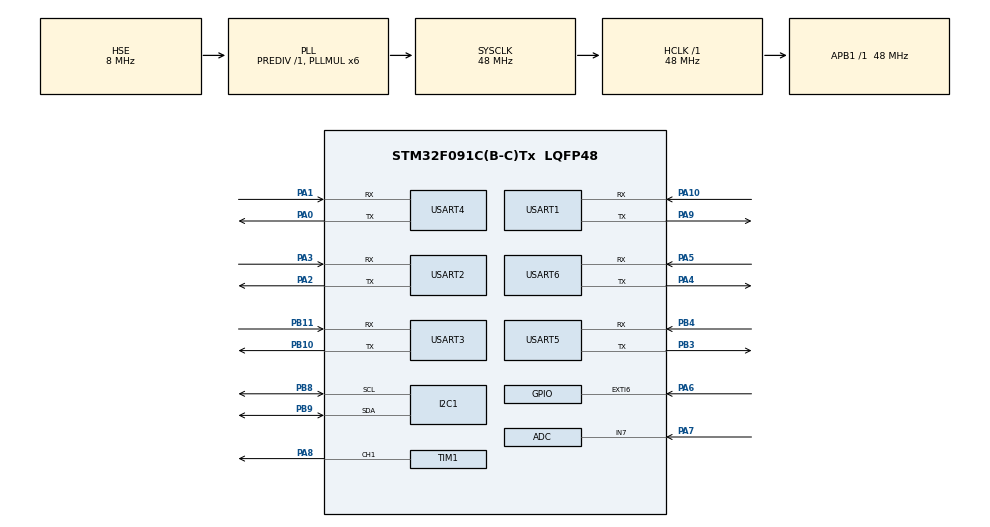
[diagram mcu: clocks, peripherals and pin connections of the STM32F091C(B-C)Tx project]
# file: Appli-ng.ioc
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ADC.ClockPrescaler=ADC_CLOCK_ASYNC_DIV1
ADC.ContinuousConvMode=ENABLE
ADC.DMAContinuousRequests=DISABLE
ADC.DataAlign=ADC_DATAALIGN_RIGHT
ADC.DiscontinuousConvMode=DISABLE
ADC.EOCSelection=ADC_EOC_SINGLE_CONV
ADC.EnableAnalogWatchDog=false
ADC.ExternalTrigConv=ADC_SOFTWARE_START
ADC.ExternalTrigConvEdge=ADC_EXTERNALTRIGCONVEDGE_NONE
ADC.LowPowerAutoPowerOff=DISABLE
ADC.LowPowerAutoWait=DISABLE
ADC.Overrun=ADC_OVR_DATA_PRESERVED
ADC.Resolution=ADC_RESOLUTION_12B
ADC.SamplingTime=ADC_SAMPLETIME_239CYCLES_5
ADC.ScanConvMode=ADC_SCAN_DIRECTION_FORWARD
Dma.ADC.0.Direction=DMA_PERIPH_TO_MEMORY
Dma.ADC.0.Instance=DMA1_Channel1
Dma.ADC.0.MemDataAlignment=DMA_MDATAALIGN_HALFWORD
Dma.ADC.0.MemInc=DMA_MINC_ENABLE
Dma.ADC.0.Mode=DMA_CIRCULAR
Dma.ADC.0.PeriphDataAlignment=DMA_PDATAALIGN_HALFWORD
Dma.ADC.0.PeriphInc=DMA_PINC_DISABLE
Dma.ADC.0.Priority=DMA_PRIORITY_LOW
Dma.Request0=ADC
Mcu.Family=STM32F0
Mcu.Name=STM32F091C(B-C)Tx
Mcu.Package=LQFP48
NVIC.ADC1_COMP_IRQn=true\:0\:0\:false\:false\:true\:true\:true
NVIC.DMA1_Ch1_IRQn=true\:0\:0\:false\:false\:true\:false\:true
NVIC.EXTI4_15_IRQn=true\:0\:0\:false\:false\:true\:true\:true
NVIC.TIM1_BRK_UP_TRG_COM_IRQn=true\:0\:0\:false\:false\:true\:true\:true
NVIC.TIM6_DAC_IRQn=true\:0\:0\:false\:false\:true\:true\:true
NVIC.USART1_IRQn=true\:0\:0\:false\:false\:true\:true\:true
NVIC.USART2_IRQn=true\:0\:0\:false\:false\:true\:true\:true
NVIC.USART3_8_IRQn=true\:0\:0\:false\:false\:true\:true\:true
PA0.Mode=Asynchronous
PA0.Signal=USART4_TX
PA1.Mode=Asynchronous
PA1.Signal=USART4_RX
PA10.Mode=Asynchronous
PA10.Signal=USART1_RX
PA13.Mode=Serial_Wire
PA13.Signal=SYS_SWDIO
PA14.Mode=Serial_Wire
PA14.Signal=SYS_SWCLK
PA2.Mode=Asynchronous
PA2.Signal=USART2_TX
PA3.Mode=Asynchronous
PA3.Signal=USART2_RX
PA4.Mode=Asynchronous
PA4.Signal=USART6_TX
PA5.Mode=Asynchronous
PA5.Signal=USART6_RX
PA6.GPIO_ModeDefaultEXTI=GPIO_MODE_IT_RISING
PA6.GPIO_PuPd=GPIO_NOPULL
PA6.Signal=GPXTI6
PA7.Mode=IN7
PA7.Signal=ADC_IN7
PA8.Signal=S_TIM1_CH1
PA9.Mode=Asynchronous
PA9.Signal=USART1_TX
PB10.Mode=Asynchronous
PB10.Signal=USART3_TX
PB11.Mode=Asynchronous
PB11.Signal=USART3_RX
PB3.Mode=Asynchronous
PB3.Signal=USART5_TX
PB4.Mode=Asynchronous
PB4.Signal=USART5_RX
PB8.Mode=I2C
PB8.Signal=I2C1_SCL
PB9.Mode=I2C
PB9.Signal=I2C1_SDA
PF0-OSC_IN.Mode=HSE-External-Oscillator
PF0-OSC_IN.Signal=RCC_OSC_IN
PF1-OSC_OUT.Mode=HSE-External-Oscillator
PF1-OSC_OUT.Signal=RCC_OSC_OUT
ProjectManager.HeapSize=0x200
ProjectManager.StackSize=0x400
ProjectManager.TargetToolchain=STM32CubeIDE
RCC.AHBFreq_Value=48000000
RCC.APB1Freq_Value=48000000
RCC.APB1TimFreq_Value=48000000
RCC.HCLKFreq_Value=48000000
RCC.PLLMUL=RCC_PLL_MUL6
RCC.PLLSourceVirtual=RCC_PLLSOURCE_HSE
RCC.SYSCLKFreq_VALUE=48000000
RCC.SYSCLKSource=RCC_SYSCLKSOURCE_PLLCLK
SH.S_TIM1_CH1.0=TIM1_CH1,PWM Generation1 CH1
TIM1.AutoReloadPreload=TIM_AUTORELOAD_PRELOAD_ENABLE
TIM1.Channel-PWM\ Generation1\ CH1=TIM_CHANNEL_1
USART1.VirtualMode-Asynchronous=VM_ASYNC
USART2.VirtualMode-Asynchronous=VM_ASYNC
USART3.VirtualMode-Asynchronous=VM_ASYNC
USART4.VirtualMode-Asynchronous=VM_ASYNC
USART5.VirtualMode-Asynchronous=VM_ASYNC
USART6.VirtualMode=VM_ASYNC
VP_TIM6_VS_ClockSourceINT.Mode=Enable_Timer
VP_TIM7_VS_ClockSourceINT.Mode=Enable_Timer
board=BLINKY_boot

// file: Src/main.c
/* USER CODE BEGIN Header */
/**
  ******************************************************************************
  * @file           : main.c
  * @brief          : Main program body
  ******************************************************************************
  * @attention
  *
  * <h2><center>&copy; Copyright (c) 2020 STMicroelectronics.
  * All rights reserved.</center></h2>
  *
  * This software component is licensed by ST under BSD 3-Clause license,
  * the "License"; You may not use this file except in compliance with the
  * License. You may obtain a copy of the License at:
  *                        opensource.org/licenses/BSD-3-Clause
  *
  ******************************************************************************
  */
/* USER CODE END Header */

#include "main.h"

/* USER CODE BEGIN Includes */
#include <stm32f0xx_it.h>
#include <sublayer12.h>
#include <layer2.h>
#include <hwLED.h>
#include <serial.h>
#include <bbpp.h>
#include <flash_storage.h>
#include <speaker.h>
#include <user_code.h>
/* USER CODE END Includes */

/* USER CODE BEGIN PD */
#define ACCEL_ADDR_W 0x98
#define ACCEL_ADDR_R 0x99

#define DO 523*4
#define RE 587*4
#define MI 659*4
#define FA 698*4
#define SOL 784*4
#define SI 988*4
/* USER CODE END PD */

ADC_HandleTypeDef hadc;
DMA_HandleTypeDef hdma_adc;

I2C_HandleTypeDef hi2c1;

TIM_HandleTypeDef htim1;
TIM_HandleTypeDef htim6;
TIM_HandleTypeDef htim7;

UART_HandleTypeDef huart1;
UART_HandleTypeDef huart2;
UART_HandleTypeDef huart3;
UART_HandleTypeDef huart4;
UART_HandleTypeDef huart5;
UART_HandleTypeDef huart6;

/* USER CODE BEGIN PV */
uint32_t time_to_jump;
uint32_t address_to_jump = 0;
/* USER CODE END PV */

void SystemClock_Config(void);
static void MX_GPIO_Init(void);
static void MX_DMA_Init(void);
static void MX_ADC_Init(void);
static void MX_I2C1_Init(void);
static void MX_TIM1_Init(void);
static void MX_USART1_UART_Init(void);
static void MX_USART2_UART_Init(void);
static void MX_USART3_UART_Init(void);
static void MX_USART4_UART_Init(void);
static void MX_USART5_UART_Init(void);
static void MX_USART6_UART_Init(void);
static void MX_TIM6_Init(void);
static void MX_TIM7_Init(void);
/* USER CODE BEGIN PFP */
void jump_to_software(uint32_t softAddress);
void initHWAccel(void);
/* USER CODE END PFP */

/* USER CODE BEGIN 0 */
uint8_t is_initialized = 0;
uint8_t must_reboot = 0;
uint32_t reboot_time = 0;
/* USER CODE END 0 */

int main(void)
{

  /* MCU Configuration--------------------------------------------------------*/

  /* Reset of all peripherals, Initializes the Flash interface and the Systick. */
  HAL_Init();

  /* USER CODE BEGIN Init */
#ifdef IS_APPLICATION
	__disable_irq();
  volatile uint32_t *VectorTable = (volatile uint32_t *)0x20000000U;
  uint32_t ui32_VectorIndex = 0;
  // Copy interrupt vector table to the RAM.
  for(ui32_VectorIndex = 0; ui32_VectorIndex < 48; ui32_VectorIndex++)   	{
//	  VectorTable[ui32_VectorIndex] = *(__IO uint32_t*)(((uint32_t)0x08010000U + (ui32_VectorIndex << 2)) | 1);
	  VectorTable[ui32_VectorIndex] = *(__IO uint32_t*)((uint32_t)0x08010000U + (ui32_VectorIndex << 2));
  }
#endif
  /* USER CODE END Init */

  /* Configure the system clock */
  SystemClock_Config();

  /* USER CODE BEGIN SysInit */
#ifdef IS_APPLICATION
  __HAL_RCC_AHB_FORCE_RESET();
  __HAL_RCC_SYSCFG_CLK_ENABLE();
  __HAL_RCC_AHB_RELEASE_RESET();
  __DSB();
  __HAL_SYSCFG_REMAPMEMORY_SRAM();
  __DSB();
  __ISB();
#endif
  /* USER CODE END SysInit */

  /* Initialize all configured peripherals */
  MX_GPIO_Init();
  MX_DMA_Init();
  MX_ADC_Init();
  MX_I2C1_Init();
  MX_TIM1_Init();
  MX_USART1_UART_Init();
  MX_USART2_UART_Init();
  MX_USART3_UART_Init();
  MX_USART4_UART_Init();
  MX_USART5_UART_Init();
  MX_USART6_UART_Init();
  MX_TIM6_Init();
  MX_TIM7_Init();
  /* USER CODE BEGIN 2 */
#ifdef IS_APPLICATION
  __enable_irq();
#endif

#ifdef IS_APPLICATION
  setHWLED(0, 0, 0);
#else
  setHWLED(50, 50, 0);
  load_configuration();
  extern configuration *my_configuration;
#endif

  init_sublayer12();
  init_frames_buffer();
  init_L3_packets();
  init_hello_protocol();
  load_configuration();

/*  int notes[] = {SOL/2, MI/2, DO/2, RE/2, SOL/4, SOL/4, SI/2, RE/2, FA/2, MI/2, DO/2, 0};
  int durations[] = {330, 165, 165, 330, 330, 165, 165, 165, 165, 330, 330};

  int i = 0;
  while (notes[i] != 0) {
	  setHWBUZZER(notes[i], durations[i]);
	  HAL_Delay(durations[i] + 20);
	  ++i;
  }
*/
  /* USER CODE END 2 */

  /* Infinite loop */
  /* USER CODE BEGIN WHILE */
  uint32_t start_time = HAL_GetTick();
#ifdef BBPP
  uint32_t last_flash_led_top = start_time;
#endif
  uint32_t last_hello_check = start_time;

  BBinit();
  is_initialized = 1;
  while (1) {
	  uint32_t now = HAL_GetTick();

	  check_pending_frames();
	  check_reemitted_frames();

	  if (last_hello_check + 50 < now) {
		  check_last_sent();
		  last_hello_check = now;
	  }

	  BBloop();

	  // Reboot if required
	  if (must_reboot && now >= reboot_time)
		  NVIC_SystemReset();

	  // One shot: we test if the application must be started
#ifdef BBPP
	  extern uint8_t in_programming;
	  if ((in_programming == 1) && now - last_flash_led_top > 100) {
		  setHWLED(0, flash_progress(), 0);
		  last_flash_led_top = now;
	  }
#endif

#ifndef IS_APPLICATION
	  if (in_programming == 0 && my_configuration->appli_auto_start == 1 && now-start_time > (1000*my_configuration->appli_auto_start_delay_sec)) {
		  jump_to_software(my_configuration->application_address);
	  }
#endif
#ifdef BBPP
	  if (in_programming == 0) {
#endif
#ifndef IS_APPLICATION
		  if (address_to_jump != 0 && time_to_jump <= now) {
		  jump_to_software(address_to_jump);
		  address_to_jump = 0;
	  }
#endif
#ifdef BBPP
	  }
#endif

    /* USER CODE END WHILE */

  }
}

void SystemClock_Config(void)
{
  RCC_OscInitTypeDef RCC_OscInitStruct = {0};
  RCC_ClkInitTypeDef RCC_ClkInitStruct = {0};
  RCC_PeriphCLKInitTypeDef PeriphClkInit = {0};

  /** Initializes the CPU, AHB and APB busses clocks
  */
  RCC_OscInitStruct.OscillatorType = RCC_OSCILLATORTYPE_HSI|RCC_OSCILLATORTYPE_HSI14
                              |RCC_OSCILLATORTYPE_HSE;
  RCC_OscInitStruct.HSEState = RCC_HSE_ON;
  RCC_OscInitStruct.HSIState = RCC_HSI_ON;
  RCC_OscInitStruct.HSI14State = RCC_HSI14_ON;
  RCC_OscInitStruct.HSICalibrationValue = RCC_HSICALIBRATION_DEFAULT;
  RCC_OscInitStruct.HSI14CalibrationValue = 16;
  RCC_OscInitStruct.PLL.PLLState = RCC_PLL_ON;
  RCC_OscInitStruct.PLL.PLLSource = RCC_PLLSOURCE_HSE;
  RCC_OscInitStruct.PLL.PLLMUL = RCC_PLL_MUL6;
  RCC_OscInitStruct.PLL.PREDIV = RCC_PREDIV_DIV1;
  if (HAL_RCC_OscConfig(&RCC_OscInitStruct) != HAL_OK)
  {
    Error_Handler();
  }
  /** Initializes the CPU, AHB and APB busses clocks
  */
  RCC_ClkInitStruct.ClockType = RCC_CLOCKTYPE_HCLK|RCC_CLOCKTYPE_SYSCLK
                              |RCC_CLOCKTYPE_PCLK1;
  RCC_ClkInitStruct.SYSCLKSource = RCC_SYSCLKSOURCE_PLLCLK;
  RCC_ClkInitStruct.AHBCLKDivider = RCC_SYSCLK_DIV1;
  RCC_ClkInitStruct.APB1CLKDivider = RCC_HCLK_DIV1;

  if (HAL_RCC_ClockConfig(&RCC_ClkInitStruct, FLASH_LATENCY_1) != HAL_OK)
  {
    Error_Handler();
  }
  PeriphClkInit.PeriphClockSelection = RCC_PERIPHCLK_USART3|RCC_PERIPHCLK_USART1
                              |RCC_PERIPHCLK_USART2|RCC_PERIPHCLK_I2C1;
  PeriphClkInit.Usart1ClockSelection = RCC_USART1CLKSOURCE_PCLK1;
  PeriphClkInit.Usart2ClockSelection = RCC_USART2CLKSOURCE_PCLK1;
  PeriphClkInit.Usart3ClockSelection = RCC_USART3CLKSOURCE_PCLK1;
  PeriphClkInit.I2c1ClockSelection = RCC_I2C1CLKSOURCE_HSI;
  if (HAL_RCCEx_PeriphCLKConfig(&PeriphClkInit) != HAL_OK)
  {
    Error_Handler();
  }
}

static void MX_ADC_Init(void)
{

  ADC_ChannelConfTypeDef sConfig = {0};

  /** Configure the global features of the ADC (Clock, Resolution, Data Alignment and number of conversion)
  */
  hadc.Instance = ADC1;
  hadc.Init.ClockPrescaler = ADC_CLOCK_ASYNC_DIV1;
  hadc.Init.Resolution = ADC_RESOLUTION_12B;
  hadc.Init.DataAlign = ADC_DATAALIGN_RIGHT;
  hadc.Init.ScanConvMode = ADC_SCAN_DIRECTION_FORWARD;
  hadc.Init.EOCSelection = ADC_EOC_SINGLE_CONV;
  hadc.Init.LowPowerAutoWait = DISABLE;
  hadc.Init.LowPowerAutoPowerOff = DISABLE;
  hadc.Init.ContinuousConvMode = ENABLE;
  hadc.Init.DiscontinuousConvMode = DISABLE;
  hadc.Init.ExternalTrigConv = ADC_SOFTWARE_START;
  hadc.Init.ExternalTrigConvEdge = ADC_EXTERNALTRIGCONVEDGE_NONE;
  hadc.Init.DMAContinuousRequests = DISABLE;
  hadc.Init.Overrun = ADC_OVR_DATA_PRESERVED;
  if (HAL_ADC_Init(&hadc) != HAL_OK)
  {
    Error_Handler();
  }
  /** Configure for the selected ADC regular channel to be converted.
  */
  sConfig.Channel = ADC_CHANNEL_7;
  sConfig.Rank = ADC_RANK_CHANNEL_NUMBER;
  sConfig.SamplingTime = ADC_SAMPLETIME_239CYCLES_5;
  if (HAL_ADC_ConfigChannel(&hadc, &sConfig) != HAL_OK)
  {
    Error_Handler();
  }

}

static void MX_I2C1_Init(void)
{

  hi2c1.Instance = I2C1;
  hi2c1.Init.Timing = 0x2000090E;
  hi2c1.Init.OwnAddress1 = 0;
  hi2c1.Init.AddressingMode = I2C_ADDRESSINGMODE_7BIT;
  hi2c1.Init.DualAddressMode = I2C_DUALADDRESS_DISABLE;
  hi2c1.Init.OwnAddress2 = 0;
  hi2c1.Init.OwnAddress2Masks = I2C_OA2_NOMASK;
  hi2c1.Init.GeneralCallMode = I2C_GENERALCALL_DISABLE;
  hi2c1.Init.NoStretchMode = I2C_NOSTRETCH_DISABLE;
  if (HAL_I2C_Init(&hi2c1) != HAL_OK)
  {
    Error_Handler();
  }
  /** Configure Analogue filter
  */
  if (HAL_I2CEx_ConfigAnalogFilter(&hi2c1, I2C_ANALOGFILTER_ENABLE) != HAL_OK)
  {
    Error_Handler();
  }
  /** Configure Digital filter
  */
  if (HAL_I2CEx_ConfigDigitalFilter(&hi2c1, 0) != HAL_OK)
  {
    Error_Handler();
  }

}

static void MX_TIM1_Init(void)
{

  TIM_MasterConfigTypeDef sMasterConfig = {0};
  TIM_OC_InitTypeDef sConfigOC = {0};
  TIM_BreakDeadTimeConfigTypeDef sBreakDeadTimeConfig = {0};

  htim1.Instance = TIM1;
  htim1.Init.Prescaler = 0;
  htim1.Init.CounterMode = TIM_COUNTERMODE_UP;
  htim1.Init.Period = 0;
  htim1.Init.ClockDivision = TIM_CLOCKDIVISION_DIV1;
  htim1.Init.RepetitionCounter = 0;
  htim1.Init.AutoReloadPreload = TIM_AUTORELOAD_PRELOAD_ENABLE;
  if (HAL_TIM_PWM_Init(&htim1) != HAL_OK)
  {
    Error_Handler();
  }
  sMasterConfig.MasterOutputTrigger = TIM_TRGO_RESET;
  sMasterConfig.MasterSlaveMode = TIM_MASTERSLAVEMODE_DISABLE;
  if (HAL_TIMEx_MasterConfigSynchronization(&htim1, &sMasterConfig) != HAL_OK)
  {
    Error_Handler();
  }
  sConfigOC.OCMode = TIM_OCMODE_PWM1;
  sConfigOC.Pulse = 0;
  sConfigOC.OCPolarity = TIM_OCPOLARITY_HIGH;
  sConfigOC.OCNPolarity = TIM_OCNPOLARITY_HIGH;
  sConfigOC.OCFastMode = TIM_OCFAST_DISABLE;
  sConfigOC.OCIdleState = TIM_OCIDLESTATE_RESET;
  sConfigOC.OCNIdleState = TIM_OCNIDLESTATE_RESET;
  if (HAL_TIM_PWM_ConfigChannel(&htim1, &sConfigOC, TIM_CHANNEL_1) != HAL_OK)
  {
    Error_Handler();
  }
  sBreakDeadTimeConfig.OffStateRunMode = TIM_OSSR_DISABLE;
  sBreakDeadTimeConfig.OffStateIDLEMode = TIM_OSSI_DISABLE;
  sBreakDeadTimeConfig.LockLevel = TIM_LOCKLEVEL_OFF;
  sBreakDeadTimeConfig.DeadTime = 0;
  sBreakDeadTimeConfig.BreakState = TIM_BREAK_DISABLE;
  sBreakDeadTimeConfig.BreakPolarity = TIM_BREAKPOLARITY_HIGH;
  sBreakDeadTimeConfig.AutomaticOutput = TIM_AUTOMATICOUTPUT_DISABLE;
  if (HAL_TIMEx_ConfigBreakDeadTime(&htim1, &sBreakDeadTimeConfig) != HAL_OK)
  {
    Error_Handler();
  }
  HAL_TIM_MspPostInit(&htim1);

}

static void MX_TIM6_Init(void)
{

  TIM_MasterConfigTypeDef sMasterConfig = {0};

  htim6.Instance = TIM6;
  htim6.Init.Prescaler = 0;
  htim6.Init.CounterMode = TIM_COUNTERMODE_UP;
  htim6.Init.Period = 0;
  htim6.Init.AutoReloadPreload = TIM_AUTORELOAD_PRELOAD_DISABLE;
  if (HAL_TIM_Base_Init(&htim6) != HAL_OK)
  {
    Error_Handler();
  }
  sMasterConfig.MasterOutputTrigger = TIM_TRGO_RESET;
  sMasterConfig.MasterSlaveMode = TIM_MASTERSLAVEMODE_DISABLE;
  if (HAL_TIMEx_MasterConfigSynchronization(&htim6, &sMasterConfig) != HAL_OK)
  {
    Error_Handler();
  }

}

static void MX_TIM7_Init(void)
{

  TIM_MasterConfigTypeDef sMasterConfig = {0};

  htim7.Instance = TIM7;
  htim7.Init.Prescaler = 0;
  htim7.Init.CounterMode = TIM_COUNTERMODE_UP;
  htim7.Init.Period = 0;
  htim7.Init.AutoReloadPreload = TIM_AUTORELOAD_PRELOAD_DISABLE;
  if (HAL_TIM_Base_Init(&htim7) != HAL_OK)
  {
    Error_Handler();
  }
  sMasterConfig.MasterOutputTrigger = TIM_TRGO_RESET;
  sMasterConfig.MasterSlaveMode = TIM_MASTERSLAVEMODE_DISABLE;
  if (HAL_TIMEx_MasterConfigSynchronization(&htim7, &sMasterConfig) != HAL_OK)
  {
    Error_Handler();
  }

}

static void MX_USART1_UART_Init(void)
{

  huart1.Instance = USART1;
  huart1.Init.BaudRate = 115200;
  huart1.Init.WordLength = UART_WORDLENGTH_8B;
  huart1.Init.StopBits = UART_STOPBITS_1;
  huart1.Init.Parity = UART_PARITY_NONE;
  huart1.Init.Mode = UART_MODE_TX_RX;
  huart1.Init.HwFlowCtl = UART_HWCONTROL_NONE;
  huart1.Init.OverSampling = UART_OVERSAMPLING_16;
  huart1.Init.OneBitSampling = UART_ONE_BIT_SAMPLE_DISABLE;
  huart1.AdvancedInit.AdvFeatureInit = UART_ADVFEATURE_NO_INIT;
  if (HAL_UART_Init(&huart1) != HAL_OK)
  {
    Error_Handler();
  }
  /* USER CODE BEGIN USART1_Init 2 */
  __HAL_UART_ENABLE_IT(&huart1, UART_IT_RXNE);
  /* USER CODE END USART1_Init 2 */

}

static void MX_USART2_UART_Init(void)
{

  huart2.Instance = USART2;
  huart2.Init.BaudRate = 115200;
  huart2.Init.WordLength = UART_WORDLENGTH_8B;
  huart2.Init.StopBits = UART_STOPBITS_1;
  huart2.Init.Parity = UART_PARITY_NONE;
  huart2.Init.Mode = UART_MODE_TX_RX;
  huart2.Init.HwFlowCtl = UART_HWCONTROL_NONE;
  huart2.Init.OverSampling = UART_OVERSAMPLING_16;
  huart2.Init.OneBitSampling = UART_ONE_BIT_SAMPLE_DISABLE;
  huart2.AdvancedInit.AdvFeatureInit = UART_ADVFEATURE_NO_INIT;
  if (HAL_UART_Init(&huart2) != HAL_OK)
  {
    Error_Handler();
  }
  /* USER CODE BEGIN USART2_Init 2 */
  __HAL_UART_ENABLE_IT(&huart2, UART_IT_RXNE);
  /* USER CODE END USART2_Init 2 */

}

static void MX_USART3_UART_Init(void)
{

  huart3.Instance = USART3;
  huart3.Init.BaudRate = 115200;
  huart3.Init.WordLength = UART_WORDLENGTH_8B;
  huart3.Init.StopBits = UART_STOPBITS_1;
  huart3.Init.Parity = UART_PARITY_NONE;
  huart3.Init.Mode = UART_MODE_TX_RX;
  huart3.Init.HwFlowCtl = UART_HWCONTROL_NONE;
  huart3.Init.OverSampling = UART_OVERSAMPLING_16;
  huart3.Init.OneBitSampling = UART_ONE_BIT_SAMPLE_DISABLE;
  huart3.AdvancedInit.AdvFeatureInit = UART_ADVFEATURE_NO_INIT;
  if (HAL_UART_Init(&huart3) != HAL_OK)
  {
    Error_Handler();
  }
  /* USER CODE BEGIN USART3_Init 2 */
  __HAL_UART_ENABLE_IT(&huart3, UART_IT_RXNE);
  /* USER CODE END USART3_Init 2 */

}

static void MX_USART4_UART_Init(void)
{

  huart4.Instance = USART4;
  huart4.Init.BaudRate = 115200;
  huart4.Init.WordLength = UART_WORDLENGTH_8B;
  huart4.Init.StopBits = UART_STOPBITS_1;
  huart4.Init.Parity = UART_PARITY_NONE;
  huart4.Init.Mode = UART_MODE_TX_RX;
  huart4.Init.HwFlowCtl = UART_HWCONTROL_NONE;
  huart4.Init.OverSampling = UART_OVERSAMPLING_16;
  huart4.Init.OneBitSampling = UART_ONE_BIT_SAMPLE_DISABLE;
  huart4.AdvancedInit.AdvFeatureInit = UART_ADVFEATURE_NO_INIT;
  if (HAL_UART_Init(&huart4) != HAL_OK)
  {
    Error_Handler();
  }
  /* USER CODE BEGIN USART4_Init 2 */
  __HAL_UART_ENABLE_IT(&huart4, UART_IT_RXNE);
  /* USER CODE END USART4_Init 2 */

}

static void MX_USART5_UART_Init(void)
{

  huart5.Instance = USART5;
  huart5.Init.BaudRate = 115200;
  huart5.Init.WordLength = UART_WORDLENGTH_8B;
  huart5.Init.StopBits = UART_STOPBITS_1;
  huart5.Init.Parity = UART_PARITY_NONE;
  huart5.Init.Mode = UART_MODE_TX_RX;
  huart5.Init.HwFlowCtl = UART_HWCONTROL_NONE;
  huart5.Init.OverSampling = UART_OVERSAMPLING_16;
  huart5.Init.OneBitSampling = UART_ONE_BIT_SAMPLE_DISABLE;
  huart5.AdvancedInit.AdvFeatureInit = UART_ADVFEATURE_NO_INIT;
  if (HAL_UART_Init(&huart5) != HAL_OK)
  {
    Error_Handler();
  }
  /* USER CODE BEGIN USART5_Init 2 */
  __HAL_UART_ENABLE_IT(&huart5, UART_IT_RXNE);
  /* USER CODE END USART5_Init 2 */

}

static void MX_USART6_UART_Init(void)
{

  huart6.Instance = USART6;
  huart6.Init.BaudRate = 115200;
  huart6.Init.WordLength = UART_WORDLENGTH_8B;
  huart6.Init.StopBits = UART_STOPBITS_1;
  huart6.Init.Parity = UART_PARITY_NONE;
  huart6.Init.Mode = UART_MODE_TX_RX;
  huart6.Init.HwFlowCtl = UART_HWCONTROL_NONE;
  huart6.Init.OverSampling = UART_OVERSAMPLING_16;
  huart6.Init.OneBitSampling = UART_ONE_BIT_SAMPLE_DISABLE;
  huart6.AdvancedInit.AdvFeatureInit = UART_ADVFEATURE_NO_INIT;
  if (HAL_UART_Init(&huart6) != HAL_OK)
  {
    Error_Handler();
  }
  /* USER CODE BEGIN USART6_Init 2 */
  __HAL_UART_ENABLE_IT(&huart6, UART_IT_RXNE);
  /* USER CODE END USART6_Init 2 */

}

static void MX_DMA_Init(void)
{

  /* DMA controller clock enable */
  __HAL_RCC_DMA1_CLK_ENABLE();

  /* DMA interrupt init */
  /* DMA1_Ch1_IRQn interrupt configuration */
  HAL_NVIC_SetPriority(DMA1_Ch1_IRQn, 0, 0);
  HAL_NVIC_EnableIRQ(DMA1_Ch1_IRQn);

}

static void MX_GPIO_Init(void)
{
  GPIO_InitTypeDef GPIO_InitStruct = {0};

  /* GPIO Ports Clock Enable */
  __HAL_RCC_GPIOF_CLK_ENABLE();
  __HAL_RCC_GPIOA_CLK_ENABLE();
  __HAL_RCC_GPIOB_CLK_ENABLE();

  /*Configure GPIO pin : PA6 */
  GPIO_InitStruct.Pin = GPIO_PIN_6;
  GPIO_InitStruct.Mode = GPIO_MODE_IT_RISING;
  GPIO_InitStruct.Pull = GPIO_NOPULL;
  HAL_GPIO_Init(GPIOA, &GPIO_InitStruct);

  /* EXTI interrupt init*/
  HAL_NVIC_SetPriority(EXTI4_15_IRQn, 0, 0);
  HAL_NVIC_EnableIRQ(EXTI4_15_IRQn);

}

/* USER CODE BEGIN 4 */
typedef void (*BOOT_tProgStart)(void); // Typedef for main function to start

void jump_to_software(uint32_t softAddress) {
    BOOT_tProgStart Prog;
    __disable_irq();

    HAL_NVIC_DisableIRQ(SysTick_IRQn);
    HAL_NVIC_DisableIRQ(WWDG_IRQn);
    HAL_NVIC_DisableIRQ(PVD_VDDIO2_IRQn);
    HAL_NVIC_DisableIRQ(RTC_IRQn);
    HAL_NVIC_DisableIRQ(FLASH_IRQn);
    HAL_NVIC_DisableIRQ(RCC_CRS_IRQn);
    HAL_NVIC_DisableIRQ(EXTI0_1_IRQn);
    HAL_NVIC_DisableIRQ(EXTI2_3_IRQn);
    HAL_NVIC_DisableIRQ(EXTI4_15_IRQn);
    HAL_NVIC_DisableIRQ(TSC_IRQn);
    HAL_NVIC_DisableIRQ(DMA1_Ch1_IRQn);
    HAL_NVIC_DisableIRQ(DMA1_Ch2_3_DMA2_Ch1_2_IRQn);
    HAL_NVIC_DisableIRQ(DMA1_Ch4_7_DMA2_Ch3_5_IRQn);
    HAL_NVIC_DisableIRQ(ADC1_COMP_IRQn);
    HAL_NVIC_DisableIRQ(TIM1_BRK_UP_TRG_COM_IRQn);
    HAL_NVIC_DisableIRQ(TIM1_CC_IRQn);
    HAL_NVIC_DisableIRQ(TIM2_IRQn);
    HAL_NVIC_DisableIRQ(TIM3_IRQn);
    HAL_NVIC_DisableIRQ(TIM6_DAC_IRQn);
    HAL_NVIC_DisableIRQ(TIM7_IRQn);
    HAL_NVIC_DisableIRQ(TIM14_IRQn);
    HAL_NVIC_DisableIRQ(TIM15_IRQn);
    HAL_NVIC_DisableIRQ(TIM16_IRQn);
    HAL_NVIC_DisableIRQ(TIM17_IRQn);
    HAL_NVIC_DisableIRQ(I2C1_IRQn);
    HAL_NVIC_DisableIRQ(I2C2_IRQn);
    HAL_NVIC_DisableIRQ(SPI1_IRQn);
    HAL_NVIC_DisableIRQ(SPI2_IRQn);
    HAL_NVIC_DisableIRQ(USART1_IRQn);
    HAL_NVIC_DisableIRQ(USART2_IRQn);
    HAL_NVIC_DisableIRQ(USART3_8_IRQn);
    HAL_NVIC_DisableIRQ(CEC_CAN_IRQn);

    Prog = (BOOT_tProgStart)(*(volatile unsigned int *) (((unsigned char*)softAddress) + 4));
    // Set the MSP stack pointer, the one used when coretx-m4 resets, at the reset value
    //__asm volatile ("MSR msp, %0\n" : : "r" (*(volatile unsigned int*)0x08010000) );
    __set_MSP(softAddress);
    // Set the CONTROL register to its reset value, to use the MSP stack pointer
    //__asm volatile ("MSR control, %0" : : "r" (u32_Control) );
    __set_CONTROL(0);
    // Disable IRQ to prevent them to be handled by the bootloader interrupt vectors
    //__asm volatile ("cpsid i");
    // Jump to firmware
    Prog();
    // No return from here
}

void HAL_TIM_PeriodElapsedCallback(TIM_HandleTypeDef *htim)
{
	if ( htim==&htim7) {
	} else if (htim == &htim6) { // Timer 6 = Timer pour la durée du Speaker
		HAL_TIM_Base_Stop_IT(&htim6);
		HAL_TIM_PWM_Stop(&htim1, TIM_CHANNEL_1);
	}
}
/* USER CODE END 4 */

void Error_Handler(void)
{
  /* USER CODE BEGIN Error_Handler_Debug */
	/* User can add his own implementation to report the HAL error return state */
	setHWLED(50, 0, 0);
  /* USER CODE END Error_Handler_Debug */
}

/************************ (C) COPYRIGHT STMicroelectronics *****END OF FILE****/
